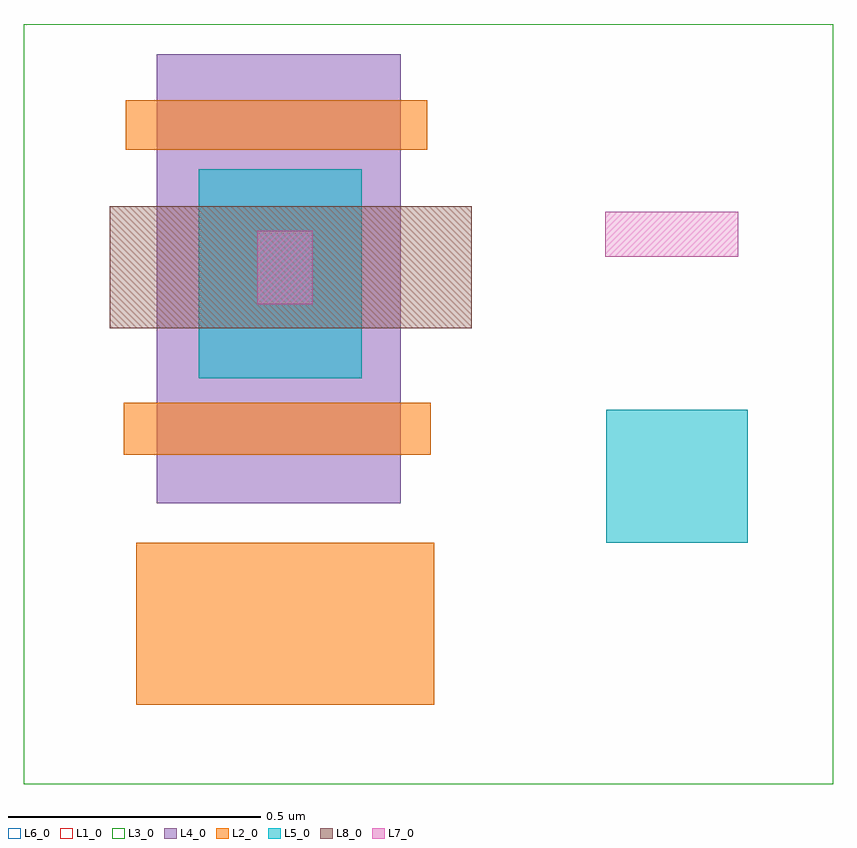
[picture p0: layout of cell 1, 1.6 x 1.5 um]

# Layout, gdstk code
import gdstk
lib = gdstk.Library(unit=1e-6, precision=1e-09)
def R(c, l, rs):  # rectangles x0, y0, x1, y1
    for r in rs: c.add(gdstk.rectangle(r[:2], r[2:], *l))
L1_0 = (1, 0)
L2_0 = (2, 0)
L3_0 = (3, 0)
L4_0 = (4, 0)
L5_0 = (5, 0)
L6_0 = (6, 0)
L7_0 = (7, 0)
L8_0 = (8, 0)

c_1 = lib.new_cell('1')
R(c_1, L1_0, [(-0.8,-0.751,0.8,0.751)])
R(c_1, L2_0, [(-0.578,-0.594,0.011,-0.274), (-0.602,-0.1,0.004,0.002), (-0.598,0.502,-0.002,0.6)])
R(c_1, L3_0, [(-0.8,-0.751,0.8,0.751)])
R(c_1, L4_0, [(-0.537,-0.196,-0.055,0.691)])
R(c_1, L5_0, [(0.351,-0.274,0.631,-0.011), (-0.454,0.051,-0.132,0.464)])
R(c_1, L6_0, [(-0.8,-0.751,0.8,0.751), (0.311,0.225,0.651,0.442)])
R(c_1, L7_0, [(-0.338,0.197,-0.229,0.342), (0.349,0.291,0.612,0.38)])
R(c_1, L8_0, [(-0.63,0.15,0.085,0.391)])

lib.write_gds('1.gds')
